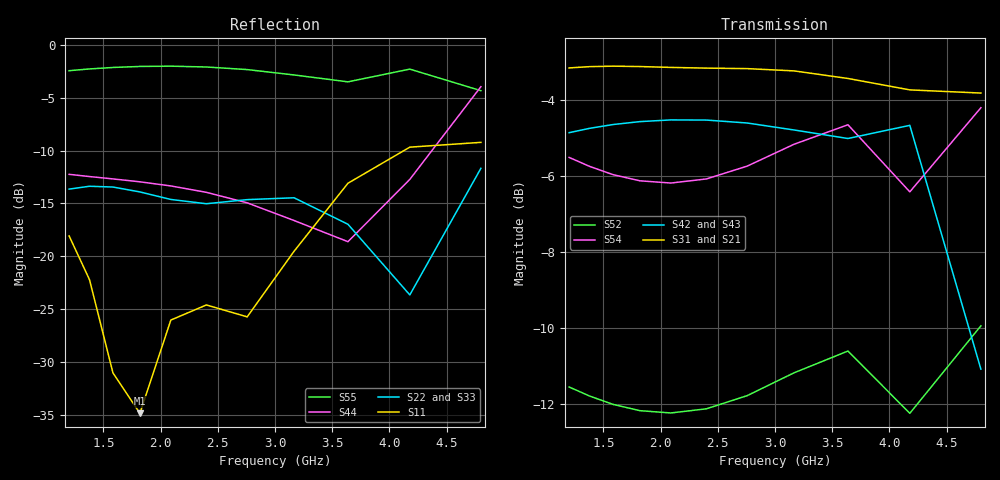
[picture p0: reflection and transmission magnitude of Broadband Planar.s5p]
! Generated by circuitRF - EM: Full-wave planar
! circuitRF-EM setup: Broadband Planar
! circuitRF-EM layout: Broadband/layout/Broadband.clay
! circuitRF-EM written: 2026-11-16 00:40:48Z
! circuitRF-EM stamp: 20261116T004048Z-fbe7f60f
! circuitRF-EM geometry: 9e1257a5c583a945
! circuitRF-EM mesh settings: 160092dd3dfb76a4
! circuitRF-EM ports: eb3c58052d87a7cc
! circuitRF-EM mesh unknowns: 14626
! circuitRF-EM model: grounded-edge-port-2026-10-14
! Port[1] = 1
! Port[2] = 2
! Port[3] = 3
! Port[4] = R1
! Port[5] = R2
! circuitRF-EM port 1: '1' at (0, 0 mil), edge, de-embedded, 50 Ohm
! circuitRF-EM port 2: '2' at (1657.4809, 382.0409 mil), edge, de-embedded, 50 Ohm
! circuitRF-EM port 3: '3' at (1657.4809, -382.0409 mil), edge, de-embedded, 50 Ohm
! circuitRF-EM port 4: 'R1' at (1463.4706, 0 mil), internal delta gap, 50 Ohm
! circuitRF-EM port 5: 'R2' at (704.5668, 0 mil), internal delta gap, 50 Ohm
! circuitRF-EM: port N of this file is the label named on the 'port N' line above. A circuit that composes this result binds its nets in that order; two ports of a reciprocal part swapped gives a plausible curve of a different structure.
! Port 1 = P01  1  net=n1  ref=ground  calibrated
! Port 2 = P02  2  net=n5  ref=ground  calibrated
! Port 3 = P03  3  net=n7  ref=ground  calibrated
! Port 4 = P04  R1  net=r2  ref=R1.2  uncalibrated
! Port 5 = P05  R2  net=n2  ref=R2.2  uncalibrated
! DC: none, the lowest row is 1.2 GHz; a circuit's DC solve through this file takes that row as DC
! circuitRF-EM: re-running the EM setup rewrites this file. If circuitRF reports it as stale, the layout's cross-section changed after this file was written.
# GHz S RI R 50
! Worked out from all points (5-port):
!   11 points, 1.2 GHz to 4.8 GHz, reference 50 ohm
!   strongest paths, dB at 1.2 GHz, 1.583 GHz, 2.4 GHz, 3.638 GHz, 4.8 GHz:
!     S31: -3.2, -3.1, -3.2, -3.4, -3.8
!     S21: -3.2, -3.1, -3.2, -3.4, -3.8
!     S42: -4.9, -4.6, -4.5, -5.0, -11.1
!     S43: -4.9, -4.6, -4.5, -5.0, -11.1
!     S54: -5.5, -6.0, -6.1, -4.7, -4.2
!     S52: -11.5, -12.0, -12.1, -10.6, -9.9
!   lowest |S11| = -34.8 dB at 1.819 GHz (marker M1), VSWR 1.04, Z = 48.3 + j0.39 ohm
!   |S11| at or under -10 dB: start of sweep to 4.127 GHz
